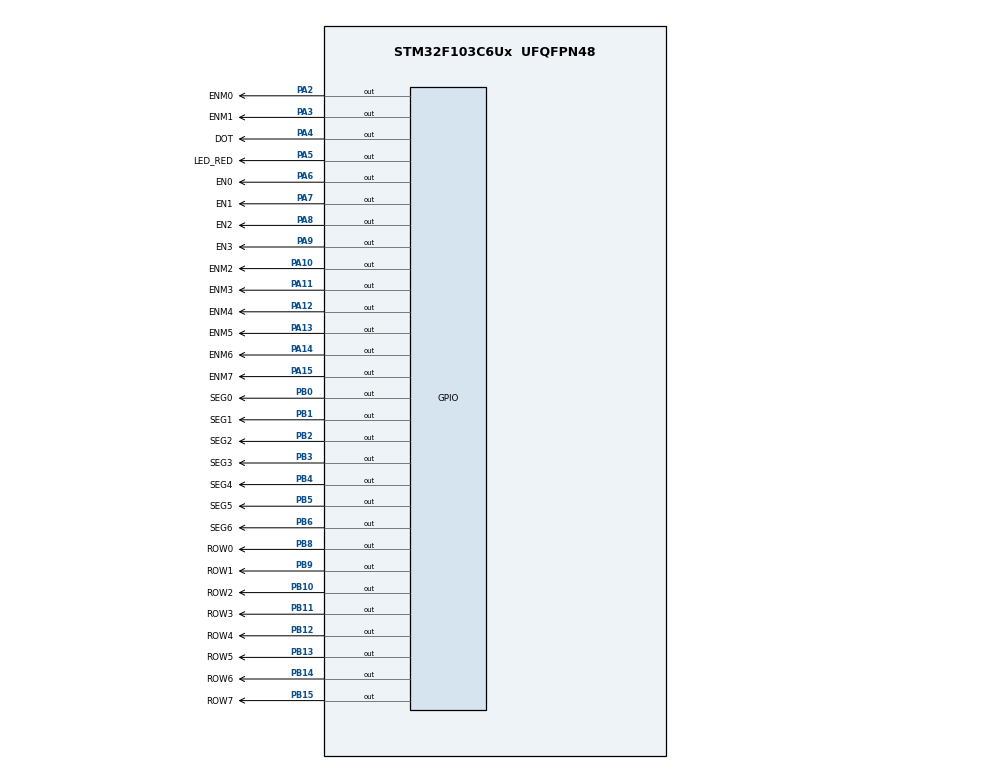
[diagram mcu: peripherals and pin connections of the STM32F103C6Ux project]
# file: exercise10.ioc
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Mcu.Family=STM32F1
Mcu.Name=STM32F103C6Ux
Mcu.Package=UFQFPN48
NVIC.PriorityGroup=NVIC_PRIORITYGROUP_4
NVIC.TIM2_IRQn=true\:0\:0\:false\:false\:true\:true\:true
PA10.GPIO_Label=ENM2
PA10.Signal=GPIO_Output
PA11.GPIO_Label=ENM3
PA11.Signal=GPIO_Output
PA12.GPIO_Label=ENM4
PA12.Signal=GPIO_Output
PA13.GPIO_Label=ENM5
PA13.Signal=GPIO_Output
PA14.GPIO_Label=ENM6
PA14.Signal=GPIO_Output
PA15.GPIO_Label=ENM7
PA15.Signal=GPIO_Output
PA2.GPIO_Label=ENM0
PA2.Signal=GPIO_Output
PA3.GPIO_Label=ENM1
PA3.Signal=GPIO_Output
PA4.GPIO_Label=DOT
PA4.Signal=GPIO_Output
PA5.GPIO_Label=LED_RED
PA5.Signal=GPIO_Output
PA6.GPIO_Label=EN0
PA6.Signal=GPIO_Output
PA7.GPIO_Label=EN1
PA7.Signal=GPIO_Output
PA8.GPIO_Label=EN2
PA8.Signal=GPIO_Output
PA9.GPIO_Label=EN3
PA9.Signal=GPIO_Output
PB0.GPIO_Label=SEG0
PB0.Signal=GPIO_Output
PB1.GPIO_Label=SEG1
PB1.Signal=GPIO_Output
PB10.GPIO_Label=ROW2
PB10.Signal=GPIO_Output
PB11.GPIO_Label=ROW3
PB11.Signal=GPIO_Output
PB12.GPIO_Label=ROW4
PB12.Signal=GPIO_Output
PB13.GPIO_Label=ROW5
PB13.Signal=GPIO_Output
PB14.GPIO_Label=ROW6
PB14.Signal=GPIO_Output
PB15.GPIO_Label=ROW7
PB15.Signal=GPIO_Output
PB2.GPIO_Label=SEG2
PB2.Signal=GPIO_Output
PB3.GPIO_Label=SEG3
PB3.Signal=GPIO_Output
PB4.GPIO_Label=SEG4
PB4.Signal=GPIO_Output
PB5.GPIO_Label=SEG5
PB5.Signal=GPIO_Output
PB6.GPIO_Label=SEG6
PB6.Signal=GPIO_Output
PB8.GPIO_Label=ROW0
PB8.Signal=GPIO_Output
PB9.GPIO_Label=ROW1
PB9.Signal=GPIO_Output
ProjectManager.HeapSize=0x200
ProjectManager.StackSize=0x400
ProjectManager.TargetToolchain=STM32CubeIDE
RCC.APB1Freq_Value=8000000
RCC.APB2Freq_Value=8000000
TIM2.Period=9
TIM2.Prescaler=7999
VP_SYS_VS_ND.Mode=No_Debug
VP_TIM2_VS_ClockSourceINT.Mode=Internal
board=custom

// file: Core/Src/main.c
/* USER CODE BEGIN Header */
/**
  ******************************************************************************
  * @file           : main.c
  * @brief          : Main program body
  ******************************************************************************
  * @attention
  *
  * <h2><center>&copy; Copyright (c) 2026 STMicroelectronics.
  * All rights reserved.</center></h2>
  *
  * This software component is licensed by ST under BSD 3-Clause license,
  * the "License"; You may not use this file except in compliance with the
  * License. You may obtain a copy of the License at:
  *                        opensource.org/licenses/BSD-3-Clause
  *
  ******************************************************************************
  */
/* USER CODE END Header */
#include "main.h"
#include "software.h"

TIM_HandleTypeDef htim2;

/* USER CODE BEGIN PV */
const int MAX_LED_MATRIX = 8;
int index_led_matrix = 0;

uint8_t matrix_buffer[8] = {
    0b00000000,
    0b00111111,
    0b01001000,
    0b10001000,
    0b10001000,
    0b01001000,
    0b00111111,
    0b00000000
};

int led_idx=1;
/* USER CODE END PV */

void SystemClock_Config(void);
static void MX_GPIO_Init(void);
static void MX_TIM2_Init(void);

/* USER CODE BEGIN 0 */
void turnOffAllMatrixColumn() {
    HAL_GPIO_WritePin(GPIOA, GPIO_PIN_2, GPIO_PIN_SET);
    HAL_GPIO_WritePin(GPIOA, GPIO_PIN_3, GPIO_PIN_SET);
    HAL_GPIO_WritePin(GPIOA, GPIO_PIN_10, GPIO_PIN_SET);
    HAL_GPIO_WritePin(GPIOA, GPIO_PIN_11, GPIO_PIN_SET);
    HAL_GPIO_WritePin(GPIOA, GPIO_PIN_12, GPIO_PIN_SET);
    HAL_GPIO_WritePin(GPIOA, GPIO_PIN_13, GPIO_PIN_SET);
    HAL_GPIO_WritePin(GPIOA, GPIO_PIN_14, GPIO_PIN_SET);
    HAL_GPIO_WritePin(GPIOA, GPIO_PIN_15, GPIO_PIN_SET);
}

void setMatrixRowData(uint8_t data) {
    HAL_GPIO_WritePin(GPIOB, GPIO_PIN_8,  !((data >> 7) & 0x1));
    HAL_GPIO_WritePin(GPIOB, GPIO_PIN_9,  !((data >> 6) & 0x1));
    HAL_GPIO_WritePin(GPIOB, GPIO_PIN_10, !((data >> 5) & 0x1));
    HAL_GPIO_WritePin(GPIOB, GPIO_PIN_11, !((data >> 4) & 0x1));
    HAL_GPIO_WritePin(GPIOB, GPIO_PIN_12, !((data >> 3) & 0x1));
    HAL_GPIO_WritePin(GPIOB, GPIO_PIN_13, !((data >> 2) & 0x1));
    HAL_GPIO_WritePin(GPIOB, GPIO_PIN_14, !((data >> 1) & 0x1));
    HAL_GPIO_WritePin(GPIOB, GPIO_PIN_15, !((data >> 0) & 0x1));
}

void updateLEDMatrix(int index) {
    turnOffAllMatrixColumn();
    setMatrixRowData(matrix_buffer[index]);

    switch (index) {
        case 0:
            HAL_GPIO_WritePin(GPIOA, GPIO_PIN_2, GPIO_PIN_RESET);
            break;
        case 1:
            HAL_GPIO_WritePin(GPIOA, GPIO_PIN_3, GPIO_PIN_RESET);
            break;
        case 2:
            HAL_GPIO_WritePin(GPIOA, GPIO_PIN_10, GPIO_PIN_RESET);
            break;
        case 3:
            HAL_GPIO_WritePin(GPIOA, GPIO_PIN_11, GPIO_PIN_RESET);
            break;
        case 4:
            HAL_GPIO_WritePin(GPIOA, GPIO_PIN_12, GPIO_PIN_RESET);
            break;
        case 5:
            HAL_GPIO_WritePin(GPIOA, GPIO_PIN_13, GPIO_PIN_RESET);
            break;
        case 6:
            HAL_GPIO_WritePin(GPIOA, GPIO_PIN_14, GPIO_PIN_RESET);
            break;
        case 7:
            HAL_GPIO_WritePin(GPIOA, GPIO_PIN_15, GPIO_PIN_RESET);
            break;
        default:
            break;
    }
}
void display7SEG(int num) {
	if (num < 0 || num > 9) return;
	    // Bảng trạng thái trực tiếp của 7 nét (a, b, c, d, e, f, g)
	    // Mức 0 = Sáng, Mức 1 = Tắt
	    const GPIO_PinState led_map[10][7] = {
	        {0, 0, 0, 0, 0, 0, 1}, // Số 0 (Chỉ tắt nét g)
	        {1, 0, 0, 1, 1, 1, 1}, // Số 1 (Chỉ sáng b, c)
	        {0, 0, 1, 0, 0, 1, 0}, // Số 2
	        {0, 0, 0, 0, 1, 1, 0}, // Số 3
	        {1, 0, 0, 1, 1, 0, 0}, // Số 4
	        {0, 1, 0, 0, 1, 0, 0}, // Số 5
	        {0, 1, 0, 0, 0, 0, 0}, // Số 6
	        {0, 0, 0, 1, 1, 1, 1}, // Số 7
	        {0, 0, 0, 0, 0, 0, 0}, // Số 8 (Sáng tất cả)
	        {0, 0, 0, 0, 1, 0, 0}  // Số 9
	    };

	    // Xuất thẳng trạng thái từ mảng ra các chân GPIO
	    HAL_GPIO_WritePin(SEG0_GPIO_Port, SEG0_Pin, led_map[num][0]);
	    HAL_GPIO_WritePin(SEG1_GPIO_Port, SEG1_Pin, led_map[num][1]);
	    HAL_GPIO_WritePin(SEG2_GPIO_Port, SEG2_Pin, led_map[num][2]);
	    HAL_GPIO_WritePin(SEG3_GPIO_Port, SEG3_Pin, led_map[num][3]);
	    HAL_GPIO_WritePin(SEG4_GPIO_Port, SEG4_Pin, led_map[num][4]);
	    HAL_GPIO_WritePin(SEG5_GPIO_Port, SEG5_Pin, led_map[num][5]);
	    HAL_GPIO_WritePin(SEG6_GPIO_Port, SEG6_Pin, led_map[num][6]);

}
/* USER CODE END 0 */

int main(void)
{

  /* MCU Configuration--------------------------------------------------------*/

  /* Reset of all peripherals, Initializes the Flash interface and the Systick. */
  HAL_Init();

  /* Configure the system clock */
  SystemClock_Config();

  /* Initialize all configured peripherals */
  MX_GPIO_Init();
  MX_TIM2_Init();
  /* USER CODE BEGIN 2 */
  HAL_TIM_Base_Start_IT(&htim2);
  /* Infinite loop */
  setTimer2(100);
  while (1)
  {

  }
}

void SystemClock_Config(void)
{
  RCC_OscInitTypeDef RCC_OscInitStruct = {0};
  RCC_ClkInitTypeDef RCC_ClkInitStruct = {0};

  /** Initializes the RCC Oscillators according to the specified parameters
  * in the RCC_OscInitTypeDef structure.
  */
  RCC_OscInitStruct.OscillatorType = RCC_OSCILLATORTYPE_HSI;
  RCC_OscInitStruct.HSIState = RCC_HSI_ON;
  RCC_OscInitStruct.HSICalibrationValue = RCC_HSICALIBRATION_DEFAULT;
  RCC_OscInitStruct.PLL.PLLState = RCC_PLL_NONE;
  if (HAL_RCC_OscConfig(&RCC_OscInitStruct) != HAL_OK)
  {
    Error_Handler();
  }
  /** Initializes the CPU, AHB and APB buses clocks
  */
  RCC_ClkInitStruct.ClockType = RCC_CLOCKTYPE_HCLK|RCC_CLOCKTYPE_SYSCLK
                              |RCC_CLOCKTYPE_PCLK1|RCC_CLOCKTYPE_PCLK2;
  RCC_ClkInitStruct.SYSCLKSource = RCC_SYSCLKSOURCE_HSI;
  RCC_ClkInitStruct.AHBCLKDivider = RCC_SYSCLK_DIV1;
  RCC_ClkInitStruct.APB1CLKDivider = RCC_HCLK_DIV1;
  RCC_ClkInitStruct.APB2CLKDivider = RCC_HCLK_DIV1;

  if (HAL_RCC_ClockConfig(&RCC_ClkInitStruct, FLASH_LATENCY_0) != HAL_OK)
  {
    Error_Handler();
  }
}

static void MX_TIM2_Init(void)
{

  TIM_ClockConfigTypeDef sClockSourceConfig = {0};
  TIM_MasterConfigTypeDef sMasterConfig = {0};

  htim2.Instance = TIM2;
  htim2.Init.Prescaler = 7999;
  htim2.Init.CounterMode = TIM_COUNTERMODE_UP;
  htim2.Init.Period = 9;
  htim2.Init.ClockDivision = TIM_CLOCKDIVISION_DIV1;
  htim2.Init.AutoReloadPreload = TIM_AUTORELOAD_PRELOAD_DISABLE;
  if (HAL_TIM_Base_Init(&htim2) != HAL_OK)
  {
    Error_Handler();
  }
  sClockSourceConfig.ClockSource = TIM_CLOCKSOURCE_INTERNAL;
  if (HAL_TIM_ConfigClockSource(&htim2, &sClockSourceConfig) != HAL_OK)
  {
    Error_Handler();
  }
  sMasterConfig.MasterOutputTrigger = TIM_TRGO_RESET;
  sMasterConfig.MasterSlaveMode = TIM_MASTERSLAVEMODE_DISABLE;
  if (HAL_TIMEx_MasterConfigSynchronization(&htim2, &sMasterConfig) != HAL_OK)
  {
    Error_Handler();
  }

}

static void MX_GPIO_Init(void)
{
  GPIO_InitTypeDef GPIO_InitStruct = {0};

  /* GPIO Ports Clock Enable */
  __HAL_RCC_GPIOA_CLK_ENABLE();
  __HAL_RCC_GPIOB_CLK_ENABLE();

  /*Configure GPIO pin Output Level */
  HAL_GPIO_WritePin(GPIOA, ENM0_Pin|ENM1_Pin|DOT_Pin|LED_RED_Pin
                          |EN0_Pin|EN1_Pin|EN2_Pin|EN3_Pin
                          |ENM2_Pin|ENM3_Pin|ENM4_Pin|ENM5_Pin
                          |ENM6_Pin|ENM7_Pin, GPIO_PIN_RESET);

  /*Configure GPIO pin Output Level */
  HAL_GPIO_WritePin(GPIOB, SEG0_Pin|SEG1_Pin|SEG2_Pin|ROW2_Pin
                          |ROW3_Pin|ROW4_Pin|ROW5_Pin|ROW6_Pin
                          |ROW7_Pin|SEG3_Pin|SEG4_Pin|SEG5_Pin
                          |SEG6_Pin|ROW0_Pin|ROW1_Pin, GPIO_PIN_RESET);

  /*Configure GPIO pins : ENM0_Pin ENM1_Pin DOT_Pin LED_RED_Pin
                           EN0_Pin EN1_Pin EN2_Pin EN3_Pin
                           ENM2_Pin ENM3_Pin ENM4_Pin ENM5_Pin
                           ENM6_Pin ENM7_Pin */
  GPIO_InitStruct.Pin = ENM0_Pin|ENM1_Pin|DOT_Pin|LED_RED_Pin
                          |EN0_Pin|EN1_Pin|EN2_Pin|EN3_Pin
                          |ENM2_Pin|ENM3_Pin|ENM4_Pin|ENM5_Pin
                          |ENM6_Pin|ENM7_Pin;
  GPIO_InitStruct.Mode = GPIO_MODE_OUTPUT_PP;
  GPIO_InitStruct.Pull = GPIO_NOPULL;
  GPIO_InitStruct.Speed = GPIO_SPEED_FREQ_LOW;
  HAL_GPIO_Init(GPIOA, &GPIO_InitStruct);

  /*Configure GPIO pins : SEG0_Pin SEG1_Pin SEG2_Pin ROW2_Pin
                           ROW3_Pin ROW4_Pin ROW5_Pin ROW6_Pin
                           ROW7_Pin SEG3_Pin SEG4_Pin SEG5_Pin
                           SEG6_Pin ROW0_Pin ROW1_Pin */
  GPIO_InitStruct.Pin = SEG0_Pin|SEG1_Pin|SEG2_Pin|ROW2_Pin
                          |ROW3_Pin|ROW4_Pin|ROW5_Pin|ROW6_Pin
                          |ROW7_Pin|SEG3_Pin|SEG4_Pin|SEG5_Pin
                          |SEG6_Pin|ROW0_Pin|ROW1_Pin;
  GPIO_InitStruct.Mode = GPIO_MODE_OUTPUT_PP;
  GPIO_InitStruct.Pull = GPIO_NOPULL;
  GPIO_InitStruct.Speed = GPIO_SPEED_FREQ_LOW;
  HAL_GPIO_Init(GPIOB, &GPIO_InitStruct);

}

/* USER CODE BEGIN 4 */
void HAL_TIM_PeriodElapsedCallback(TIM_HandleTypeDef *htim){
	if (htim->Instance == TIM2){
		timerRun();
		            updateLEDMatrix(index_led_matrix);
		            index_led_matrix++;
		            if(index_led_matrix >= MAX_LED_MATRIX) {
		                index_led_matrix = 0;
		            }
			HAL_GPIO_WritePin(EN0_GPIO_Port, EN0_Pin, GPIO_PIN_SET);
			HAL_GPIO_WritePin(EN1_GPIO_Port, EN1_Pin, GPIO_PIN_SET);
			HAL_GPIO_WritePin(EN2_GPIO_Port, EN2_Pin, GPIO_PIN_SET);
			HAL_GPIO_WritePin(EN3_GPIO_Port, EN3_Pin, GPIO_PIN_SET);
		switch(led_idx)
		{
		case 1: //led dau hien thi 1
			display7SEG(1);
			HAL_GPIO_WritePin(EN0_GPIO_Port, EN0_Pin, GPIO_PIN_RESET);
			break;
		case 2: //led dau hien thi 2
			display7SEG(2);
			HAL_GPIO_WritePin(EN1_GPIO_Port, EN1_Pin, GPIO_PIN_RESET);
			break;
		case 3: //led dau hien thi 3
			display7SEG(3);
			HAL_GPIO_WritePin(EN2_GPIO_Port, EN2_Pin, GPIO_PIN_RESET);
			break;
		case 4: //led dau hien thi 0
			display7SEG(0);
			HAL_GPIO_WritePin(EN3_GPIO_Port, EN3_Pin, GPIO_PIN_RESET);
			break;
		}
		led_idx++;
			  if (led_idx > 4) led_idx = 1;

			if(timer2_flag == 1) {
				setTimer2(100);
				HAL_GPIO_TogglePin(DOT_GPIO_Port,DOT_Pin);
				HAL_GPIO_TogglePin(LED_RED_GPIO_Port, LED_RED_Pin);
			}
	}
}

/* USER CODE END 4 */

void Error_Handler(void)
{
  __disable_irq();
  while (1)
  {
  }
}

/************************ (C) COPYRIGHT STMicroelectronics *****END OF FILE****/
